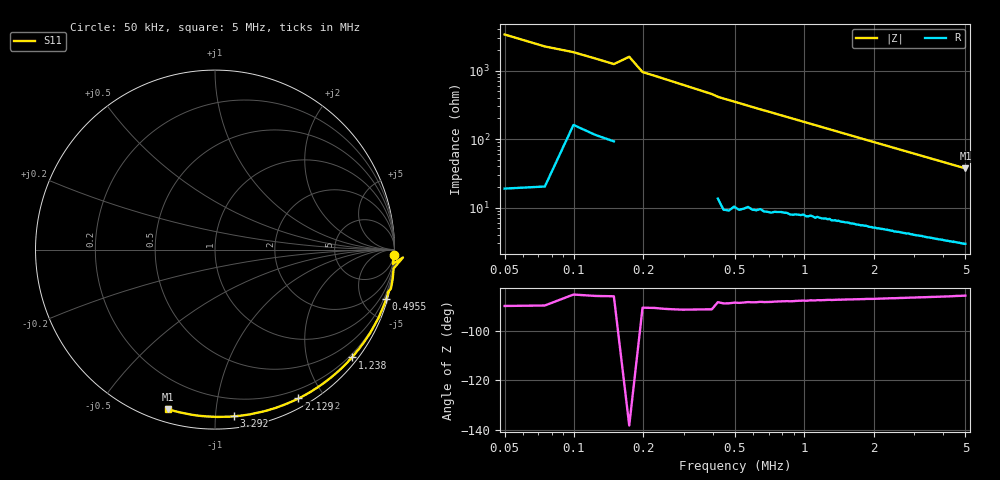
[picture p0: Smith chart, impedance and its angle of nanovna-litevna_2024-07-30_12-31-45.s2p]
! NanoVNA-App by OneOfEleven et al v1.1.209 (+OD15)
! Date: 2024-07-30 12:31:49
! Start: 50kHz Stop: 5MHz Points: 201
! S-Parameter data: F S11 S21 S12 S22
# Hz S RI R 50
!  Frequency  S11_Real  S11_Imag  S21_Real  S21_Imag  S12_Real  S12_Imag  S22_Real  S22_Imag
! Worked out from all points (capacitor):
!   201 points, 50 kHz to 5 MHz, reference 50 ohm
!   read as one part to ground: C = 866 pF near 74.75 kHz
!   lowest |Z| = 37.3 ohm at 5 MHz (marker M1)
!   S11 on the Smith chart (normalised r, x): 50 kHz: 0, -67; 495.5 kHz: 0.21, -7.05; 1.238 MHz: 0.14, -2.88; 2.129 MHz: 0.10, -1.70; 3.292 MHz: 0.08, -1.12; 5 MHz: 0.06, -0.74
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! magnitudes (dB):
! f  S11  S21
! 50 kHz  0.0  -93.9
! 74.75 kHz  0.0  -87.6
! 99.5 kHz  0.0  -91.4
! 149 kHz  -0.1  -94.2
! 173.8 kHz  0.4  -95.0
! 198.5 kHz  0.0  -89.5
! 297.5 kHz  0.0  -100.3
! 396.5 kHz  0.0  -92.1
! 421.2 kHz  -0.1  -90.6
! 446 kHz  -0.1  -90.9
! 495.5 kHz  -0.1  -90.0
! 891.5 kHz  -0.2  -102.2
! 990.5 kHz  -0.2  -88.4
! 1.238 MHz  -0.3  -87.5
! 1.708 MHz  -0.4  -90.8
! 2.129 MHz  -0.4  -93.0
! 2.525 MHz  -0.5  -91.4
! 2.822 MHz  -0.5  -100.9
! 3.292 MHz  -0.6  -86.9
! 3.366 MHz  -0.6  -93.1
! 4.183 MHz  -0.6  -96.3
! 5 MHz  -0.7  -91.7
